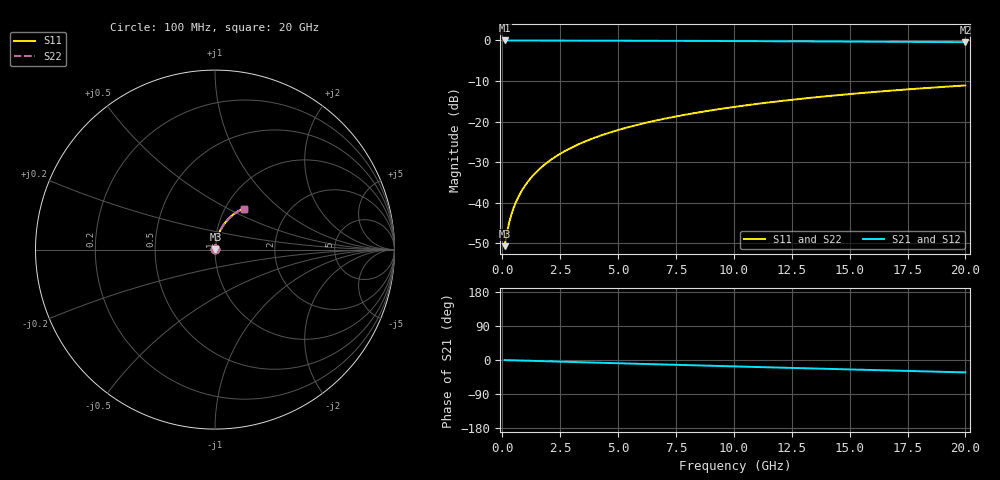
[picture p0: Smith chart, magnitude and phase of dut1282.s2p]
! Touchstone file exported from HFSS 2026.1.0
!  File:  C:/ffzhzh/LocalFiles/Ansys_Project_Files/temp_train_BSMRDL_1282_1783177866_18472.aedt
!  Generated:  11:12:14 PM Jul  4, 2026
!  Design:  BSMRDL
!  Project:  temp_train_BSMRDL_1282_1783177866_18472
! Variables:
!  h_bsmrdl = 4.22um
!  h_ox = 20um
!  h_rdl = 5um
!  h_sub = 80um
!  h_tmrdl = 5um
!  h_tsv = 80um
!  h_via = 3um
!  l_bsmrdl = 489.34um
!  l_sub = 889.34um
!  l_tmrdl = 200um
!  m_sub = 200um
!  pitch = 38.85um
!  r_tsv = 6um
!  s_tmrdl = 10um
!  w_bsmrdl = 19.09um
!  w_sub = 500um
!  w_tmrdl = 12um
!  x_tsv_center1 = 206um
!  x_tsv_center2 = 714.43um
!  x_tsv_center3 = 926.43um
!  x_tsv_center4 = 1434.86um
!  x_tsv_center5 = 1646.86um
!  x_tsv_center6 = 2155.29um
# GHz S MA R 50.000000
! Terminal data exported
! Port[1] = BSM_RDL1_1_T1
! Port[2] = BSM_RDL1_1_T2
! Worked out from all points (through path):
!   200 points, 100 MHz to 20 GHz, reference 50 ohm
!   highest |S21| = -0.02 dB at 100 MHz (marker M1); lowest = -0.4 dB at 20 GHz (marker M2)
!   group delay of S21, straight-line fit = 4.54 ps
!   lowest |S11| = -50.7 dB at 100 MHz (marker M3), VSWR 1.01, Z = 50.2 + j0.179 ohm
!   |S11| at or under -10 dB: start of sweep to end of sweep
!   |S22| runs from -50.7 to -11.1 dB; largest |S21 - S12| = 3.5e-15
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0.1  0.002923 37.5  0.9977 -0.2  0.9977 -0.2  0.002923 37.5
! Gamma 0 0 0 0
! Port Impedance 50 0 50 0
0.2  0.004267 54.9  0.9976 -0.4  0.9976 -0.4  0.004267 54.9
0.3  0.00576 63.1  0.9974 -0.5  0.9974 -0.5  0.00576 63.1
0.4  0.007277 67.8  0.9973 -0.7  0.9973 -0.7  0.007278 67.8
0.5  0.008803 70.9  0.9972 -0.9  0.9972 -0.9  0.008803 70.9
0.6  0.01034 73.2  0.9972 -1.1  0.9972 -1.1  0.01034 73.2
0.8  0.01343 76.1  0.997 -1.4  0.997 -1.4  0.01343 76.1
1.1  0.01811 78.5  0.9969 -1.9  0.9969 -1.9  0.01811 78.5
1.3  0.02125 79.4  0.9967 -2.3  0.9967 -2.3  0.02125 79.4
1.6  0.02598 80.1  0.9965 -2.8  0.9965 -2.8  0.02598 80.1
2.1  0.03386 80.6  0.9961 -3.6  0.9961 -3.6  0.03386 80.6
2.7  0.04329 80.5  0.9954 -4.7  0.9954 -4.7  0.04329 80.5
3.5  0.05574 79.7  0.9944 -6.0  0.9944 -6.0  0.05574 79.7
4.2  0.06652 78.9  0.9933 -7.2  0.9933 -7.2  0.06652 78.9
5  0.07869 77.8  0.9919 -8.6  0.9919 -8.6  0.0787 77.8
5.9  0.09219 76.5  0.9902 -10.1  0.9902 -10.1  0.0922 76.5
6.8  0.1055 75.1  0.9884 -11.6  0.9884 -11.6  0.1055 75.1
8.3  0.1273 72.9  0.9851 -14.1  0.9851 -14.1  0.1273 72.9
10.1  0.1527 70.1  0.9807 -17.0  0.9807 -17.0  0.1527 70.1
13.4  0.1974 65.1  0.9716 -22.4  0.9716 -22.4  0.1974 65.1
16.7  0.2395 60.1  0.9614 -27.6  0.9614 -27.6  0.2395 60.1
20  0.2786 55.2  0.9502 -32.7  0.9502 -32.7  0.2786 55.2
